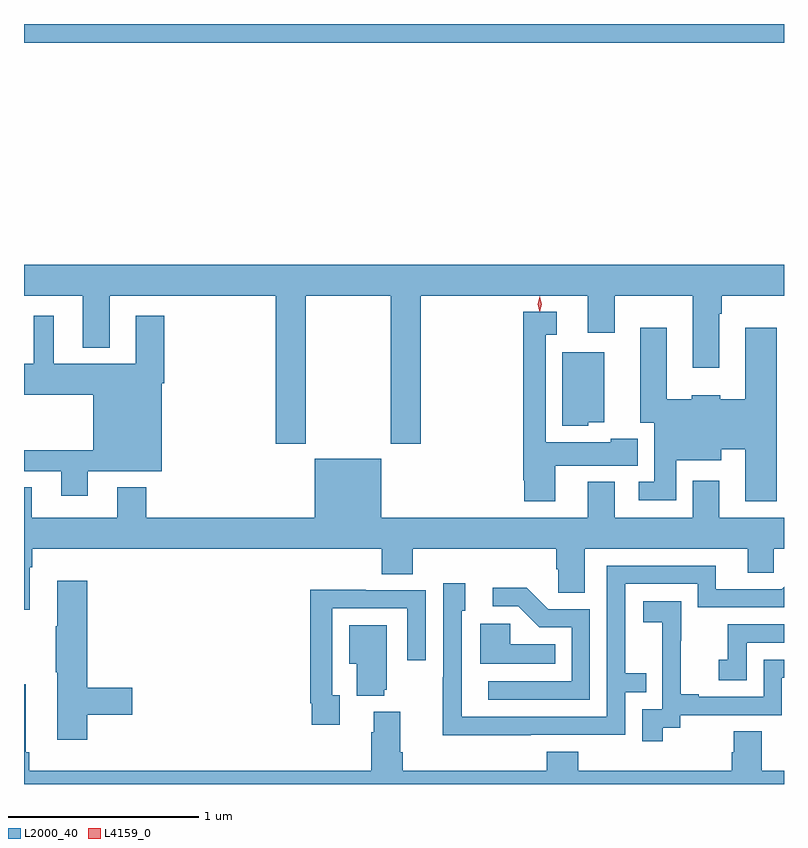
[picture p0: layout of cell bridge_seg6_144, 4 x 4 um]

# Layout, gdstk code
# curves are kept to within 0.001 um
import gdstk
lib = gdstk.Library(unit=1e-6, precision=1e-09)
def R(c, l, rs):  # rectangles x0, y0, x1, y1
    for r in rs: c.add(gdstk.rectangle(r[:2], r[2:], *l))
def P(c, l, *ps):  # polygons
    for p in ps: c.add(gdstk.Polygon(p, *l))
L2000_40 = (2000, 40)
L4159_0 = (4159, 0)

bridge_seg6_144 = lib.new_cell('bridge_seg6_144')
R(bridge_seg6_144, L2000_40, [(506.155,981.968,510.155,982.066)])
P(bridge_seg6_144, L2000_40, [(507.639,980.636),(508.084,980.636),(508.084,979.857),(508.244,979.857),(508.244,980.636),(509.123,980.636),(509.123,980.442),(509.263,980.442),(509.263,980.636),(509.675,980.636),(509.675,980.256),(509.815,980.256),(509.815,980.54),(509.828,980.54),(509.828,980.636),(510.155,980.636),(510.155,980.8),(506.155,980.8),(506.155,980.636),(506.465,980.636),(506.465,980.363),(506.605,980.363),(506.605,980.636),(507.479,980.636),(507.479,979.857),(507.639,979.857)],
  [(508.951,979.742),(509.386,979.742),(509.386,979.882),(509.244,979.882),(509.244,979.864),(508.9,979.864),(508.9,980.431),(508.96,980.431),(508.96,980.551),(508.782,980.551),(508.782,979.666),(508.787,979.666),(508.787,979.554),(508.951,979.554)],
  [(506.491,979.712),(506.881,979.712),(506.881,980.174),(506.894,980.174),(506.894,980.53),(506.744,980.53),(506.744,980.278),(506.311,980.278),(506.311,980.53),(506.207,980.53),(506.207,980.278),(506.155,980.278),(506.155,980.114),(506.519,980.114),(506.519,979.822),(506.155,979.822),(506.155,979.713),(506.351,979.713),(506.351,979.584),(506.491,979.584)],
  [(510.116,980.467),(509.951,980.467),(509.951,980.092),(509.82,980.092),(509.82,980.113),(509.67,980.113),(509.67,980.092),(509.539,980.092),(509.539,980.467),(509.399,980.467),(509.399,979.967),(509.471,979.967),(509.471,979.656),(509.391,979.656),(509.391,979.56),(509.587,979.56),(509.587,979.769),(509.824,979.769),(509.824,979.829),(509.951,979.829),(509.951,979.554),(510.116,979.554)],
  [(509.124,979.97),(509.209,979.97),(509.209,980.338),(508.988,980.338),(508.988,979.952),(509.124,979.952)],
  [(506.185,979.208),(506.198,979.208),(506.198,979.304),(508.037,979.304),(508.037,979.171),(508.202,979.171),(508.202,979.304),(508.955,979.304),(508.955,979.195),(508.968,979.195),(508.968,979.072),(509.107,979.072),(509.107,979.304),(509.963,979.304),(509.963,979.177),(510.102,979.177),(510.102,979.304),(510.155,979.304),(510.155,979.468),(509.815,979.468),(509.815,979.663),(509.675,979.663),(509.675,979.468),(509.263,979.468),(509.263,979.657),(509.123,979.657),(509.123,979.468),(508.036,979.468),(508.036,979.777),(507.686,979.777),(507.686,979.468),(506.798,979.468),(506.798,979.627),(506.645,979.627),(506.645,979.468),(506.197,979.468),(506.197,979.628),(506.155,979.628),(506.155,978.984),(506.185,978.984)],
  [(508.823,978.324),(509.319,978.324),(509.319,978.549),(509.429,978.549),(509.429,978.65),(509.319,978.65),(509.319,979.119),(509.7,979.119),(509.7,978.996),(510.155,978.996),(510.155,979.103),(510.144,979.092),(509.797,979.092),(509.797,979.215),(509.223,979.215),(509.223,978.42),(508.459,978.42),(508.458,978.978),(508.477,978.978),(508.477,979.123),(508.362,979.123),(508.362,978.629),(508.36,978.629),(508.36,978.323)],
  [(506.489,978.43),(506.725,978.43),(506.725,978.572),(506.489,978.572),(506.489,979.135),(506.33,979.135),(506.33,978.896),(506.323,978.896),(506.323,978.655),(506.33,978.655),(506.33,978.3),(506.489,978.3)],
  [(509.133,978.987),(508.914,978.987),(508.801,979.1),(508.623,979.1),(508.623,979.002),(508.757,979.002),(508.868,978.891),(509.037,978.891),(509.037,978.606),(508.599,978.606),(508.599,978.51),(509.133,978.51)],
  [(507.817,978.534),(507.777,978.534),(507.777,978.99),(508.173,978.99),(508.173,978.717),(508.269,978.717),(508.269,979.086),(507.953,979.086),(507.953,979.088),(507.661,979.088),(507.661,978.49),(507.669,978.49),(507.669,978.378),(507.817,978.378)],
  [(509.518,978.361),(509.61,978.361),(509.61,978.429),(510.144,978.429),(510.144,978.624),(510.155,978.624),(510.155,978.72),(510.048,978.72),(510.048,978.525),(509.707,978.525),(509.707,978.538),(509.612,978.538),(509.612,978.821),(509.613,978.821),(509.613,979.027),(509.415,979.027),(509.415,978.917),(509.513,978.917),(509.513,978.689),(509.514,978.689),(509.514,978.459),(509.409,978.459),(509.409,978.291),(509.518,978.291)],
  [(508.952,978.802),(508.713,978.802),(508.713,978.91),(508.556,978.91),(508.556,978.698),(508.952,978.698)],
  [(509.958,978.81),(510.155,978.81),(510.155,978.906),(509.86,978.906),(509.86,978.721),(509.811,978.721),(509.811,978.612),(509.958,978.612)],
  [(508.052,978.561),(508.063,978.561),(508.063,978.901),(507.866,978.901),(507.866,978.698),(507.905,978.698),(507.905,978.53),(508.052,978.53)],
  [(506.183,978.232),(506.164,978.232),(506.164,978.592),(506.155,978.592),(506.155,978.066),(510.155,978.066),(510.155,978.136),(510.039,978.136),(510.039,978.344),(509.891,978.344),(509.891,978.234),(509.879,978.234),(509.879,978.136),(509.072,978.136),(509.072,978.235),(508.907,978.235),(508.907,978.136),(508.148,978.136),(508.148,978.232),(508.135,978.232),(508.135,978.445),(507.995,978.445),(507.995,978.338),(507.983,978.338),(507.983,978.136),(506.183,978.136)])
P(bridge_seg6_144, L4159_0, [(508.869,980.551),(508.869,980.551),(508.86,980.592),(508.87,980.633),(508.87,980.633),(508.87,980.633),(508.88,980.592),(508.87,980.551)])

lib.write_gds('bridge_seg6_144.gds')
